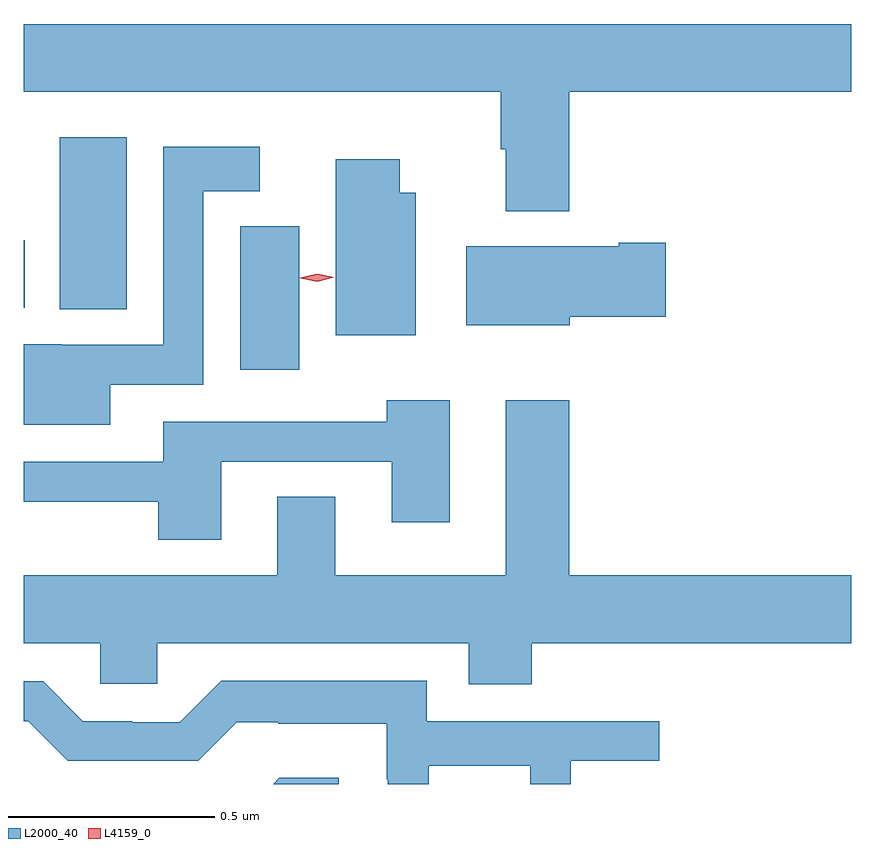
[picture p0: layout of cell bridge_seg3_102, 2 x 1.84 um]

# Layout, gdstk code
import gdstk
lib = gdstk.Library(unit=1e-6, precision=1e-09)
def R(c, l, rs):  # rectangles x0, y0, x1, y1
    for r in rs: c.add(gdstk.rectangle(r[:2], r[2:], *l))
def P(c, l, *ps):  # polygons
    for p in ps: c.add(gdstk.Polygon(p, *l))
L2000_40 = (2000, 40)
L4159_0 = (4159, 0)

bridge_seg3_102 = lib.new_cell('bridge_seg3_102')
R(bridge_seg3_102, L2000_40, [(627.335,744.201,627.478,744.547), (626.9,744.347,627.061,744.763), (626.812,744.35,626.815,744.514)])
P(bridge_seg3_102, L2000_40, [(628.13,744.872),(628.812,744.872),(628.812,745.036),(626.812,745.036),(626.812,744.872),(627.965,744.872),(627.965,744.734),(627.977,744.734),(627.977,744.584),(628.13,744.584)],
  [(627.022,744.165),(627.246,744.165),(627.246,744.632),(627.382,744.632),(627.382,744.739),(627.15,744.739),(627.15,744.261),(626.904,744.261),(626.904,744.262),(626.812,744.262),(626.812,744.068),(627.022,744.068)],
  [(627.76,744.628),(627.721,744.628),(627.721,744.709),(627.566,744.709),(627.566,744.284),(627.76,744.284)],
  [(628.132,744.329),(628.363,744.329),(628.363,744.507),(628.25,744.507),(628.25,744.499),(627.881,744.499),(627.881,744.308),(628.132,744.308)],
  [(628.04,743.54),(628.812,743.54),(628.812,743.704),(628.13,743.704),(628.13,744.127),(627.977,744.127),(627.977,743.704),(627.565,743.704),(627.565,743.894),(627.425,743.894),(627.425,743.704),(626.812,743.704),(626.812,743.54),(626.997,743.54),(626.997,743.442),(627.135,743.442),(627.135,743.54),(627.887,743.54),(627.887,743.441),(628.04,743.441)],
  [(627.289,743.979),(627.701,743.979),(627.701,743.832),(627.841,743.832),(627.841,744.127),(627.689,744.127),(627.689,744.075),(627.149,744.075),(627.149,743.979),(626.812,743.979),(626.812,743.882),(627.137,743.882),(627.137,743.79),(627.289,743.79)],
  [(627.791,743.244),(628.036,743.244),(628.036,743.2),(628.134,743.2),(628.134,743.256),(628.348,743.256),(628.348,743.352),(627.786,743.352),(627.786,743.449),(627.289,743.449),(627.189,743.349),(627.074,743.349),(627.074,743.352),(626.955,743.352),(626.859,743.448),(626.812,743.448),(626.812,743.352),(626.823,743.352),(626.919,743.256),(627.234,743.256),(627.327,743.349),(627.427,743.349),(627.427,743.345),(627.69,743.345),(627.69,743.211),(627.692,743.211),(627.692,743.2),(627.791,743.2)],
  [(627.574,743.215),(627.43,743.215),(627.415,743.2),(627.574,743.2)])
P(bridge_seg3_102, L4159_0, [(627.521,744.413),(627.48,744.422),(627.48,744.423),(627.48,744.423),(627.521,744.433),(627.562,744.424),(627.562,744.424),(627.562,744.424)])

lib.write_gds('bridge_seg3_102.gds')
